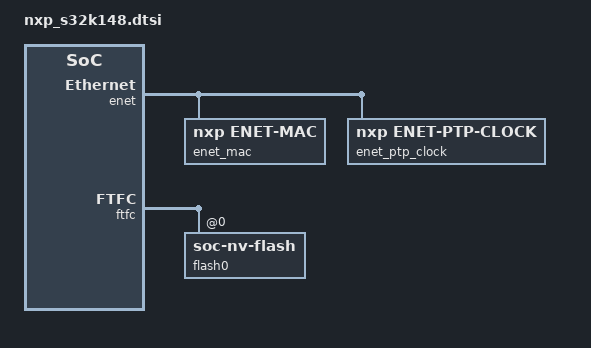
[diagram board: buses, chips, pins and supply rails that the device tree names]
/*
 * Copyright 2023 NXP
 *
 * SPDX-License-Identifier: Apache-2.0
 */

#include <dt-bindings/clock/nxp_s32k148_clock.h>
#include <nxp/nxp_s32k1xx.dtsi>

/ {
	cpus {
		cpu@0 {
			compatible = "arm,cortex-m4f";
		};
	};

	soc {
		/*
		 * SRAM_L and SRAM_U ranges form a contiguous block but misaligned
		 * and burst accesses cannot occur across the 0x20000000 boundary
		 * that separates the two SRAM arrays. Hence, treat the two arrays
		 * as separate memory ranges.
		 */
		sram_l: sram@1ffe0000 {
			compatible = "mmio-sram";
			reg = <0x1ffe0000 DT_SIZE_K(128)>;
		};

		sram_u: sram@20000000 {
			compatible = "mmio-sram";
			reg = <0x20000000 DT_SIZE_K(124)>;
		};

		enet: ethernet@40079000 {
			compatible = "nxp,enet";
			reg = <0x40079000 0x628>;
			clocks = <&clock NXP_S32_ENET_CLK>;

			enet_mac: ethernet {
				compatible = "nxp,enet-mac";
				interrupts = <73 0>, <74 0>, <75 0>;
				interrupt-names = "TX", "RX", "ERR";
				nxp,mdio = <&enet_mdio>;
				nxp,ptp-clock = <&enet_ptp_clock>;
				phy-connection-type = "rmii";
			};

			enet_mdio: mdio {
				compatible = "nxp,enet-mdio";
				#address-cells = <1>;
				#size-cells = <0>;
			};

			enet_ptp_clock: ptp_clock {
				compatible = "nxp,enet-ptp-clock";
				interrupts = <72 0>;
				clocks = <&clock NXP_S32_ENET_CLK>;
			};
		};
	};
};

&nvic {
	arm,num-irq-priority-bits = <4>;
};

&ftfc {
	flash0: flash@0 {
		compatible = "soc-nv-flash";
		reg = <0 DT_SIZE_K(1536)>;
		erase-block-size = <DT_SIZE_K(4)>;
		write-block-size = <8>;
	};
};

&lpuart2 {
	clocks = <&clock NXP_S32_LPUART2_CLK>;
};

&lpspi1 {
	clocks = <&clock NXP_S32_LPSPI1_CLK>;
};

&lpspi2 {
	clocks = <&clock NXP_S32_LPSPI2_CLK>;
};

&flexcan0 {
	interrupts = <78 0>, <79 0>, <80 0>, <81 0>, <82 0>;
	interrupt-names = "warning", "error", "wake-up", "mb-0-15", "mb-16-31";
};

&flexcan1 {
	interrupts = <85 0>, <86 0>, <88 0>, <89 0>;
	interrupt-names = "warning", "error", "mb-0-15", "mb-16-31";
	clocks = <&clock NXP_S32_FLEXCAN1_CLK>;
};

&flexcan2 {
	interrupts = <92 0>, <93 0>, <95 0>, <96 0>;
	interrupt-names = "warning", "error", "mb-0-15", "mb-16-31";
	clocks = <&clock NXP_S32_FLEXCAN2_CLK>;
};
